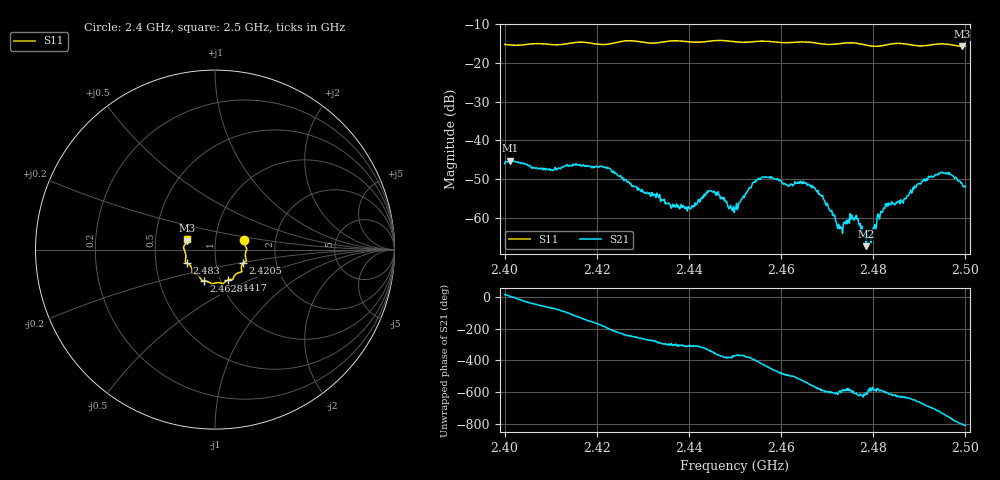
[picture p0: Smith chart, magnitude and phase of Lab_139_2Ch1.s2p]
# Hz S RI R 50
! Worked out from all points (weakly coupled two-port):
!   601 points, 2.4 GHz to 2.5 GHz, reference 50 ohm
!   highest |S21| = -45.30 dB at 2.4012 GHz (marker M1); lowest = -67.3 dB at 2.4785 GHz (marker M2)
!   lowest |S11| = -15.7 dB at 2.4993 GHz (marker M3), VSWR 1.39, Z = 36.3 + j3.65 ohm
!   |S11| at or under -10 dB: start of sweep to end of sweep
!   S12 and S22 are empty: the file has one direction only
!   S11 on the Smith chart (normalised r, x): 2.4 GHz: 1.38, +0.16; 2.4205 GHz: 1.35, -0.21; 2.4417 GHz: 1.09, -0.38; 2.4628 GHz: 0.83, -0.30; 2.483 GHz: 0.73, -0.11; 2.5 GHz: 0.73, +0.09
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2.4e9  0.1637 0.0558  0.00479 0.00143  0 0  0 0
2.401167e9  0.1642 0.0448  0.00541 0.000534  0 0  0 0
2.41e9  0.1723 -0.012  0.00144 -0.00382  0 0  0 0
2.416667e9  0.1739 -0.0634  -0.00312 -0.00342  0 0  0 0
2.4205e9  0.1553 -0.0767  -0.00452 -0.000571  0 0  0 0
2.433333e9  0.1072 -0.1476  0.00066 0.00183  0 0  0 0
2.436667e9  0.1008 -0.1647  0.000726 0.00119  0 0  0 0
2.441667e9  0.0719 -0.1698  0.000928 0.00117  0 0  0 0
2.445e9  0.0507 -0.1857  0.0021 0.000573  0 0  0 0
2.45e9  0.0288 -0.1852  0.00131 -0.000208  0 0  0 0
2.4555e9  -0.0126 -0.1901  0.00168 -0.00263  0 0  0 0
2.462833e9  -0.0627 -0.1733  -0.00218 -0.0016  0 0  0 0
2.466667e9  -0.0773 -0.1667  -0.00231 0.000782  0 0  0 0
2.472833e9  -0.1168 -0.1338  -0.000464 0.000612  0 0  0 0
2.475833e9  -0.127 -0.1289  -0.000329 0.000871  0 0  0 0
2.4785e9  -0.1275 -0.1113  -0.000168 0.000395  0 0  0 0
2.479333e9  -0.1296 -0.1032  -0.000449 0.000291  0 0  0 0
2.483e9  -0.1543 -0.0751  -0.000664 0.00138  0 0  0 0
2.483333e9  -0.1566 -0.0738  -0.000484 0.00147  0 0  0 0
2.494667e9  -0.1754 0.0129  0.00381 -0.000567  0 0  0 0
2.499333e9  -0.1561 0.0489  0.000233 -0.00266  0 0  0 0
2.5e9  -0.1537 0.0574  -5.65e-05 -0.0025  0 0  0 0
